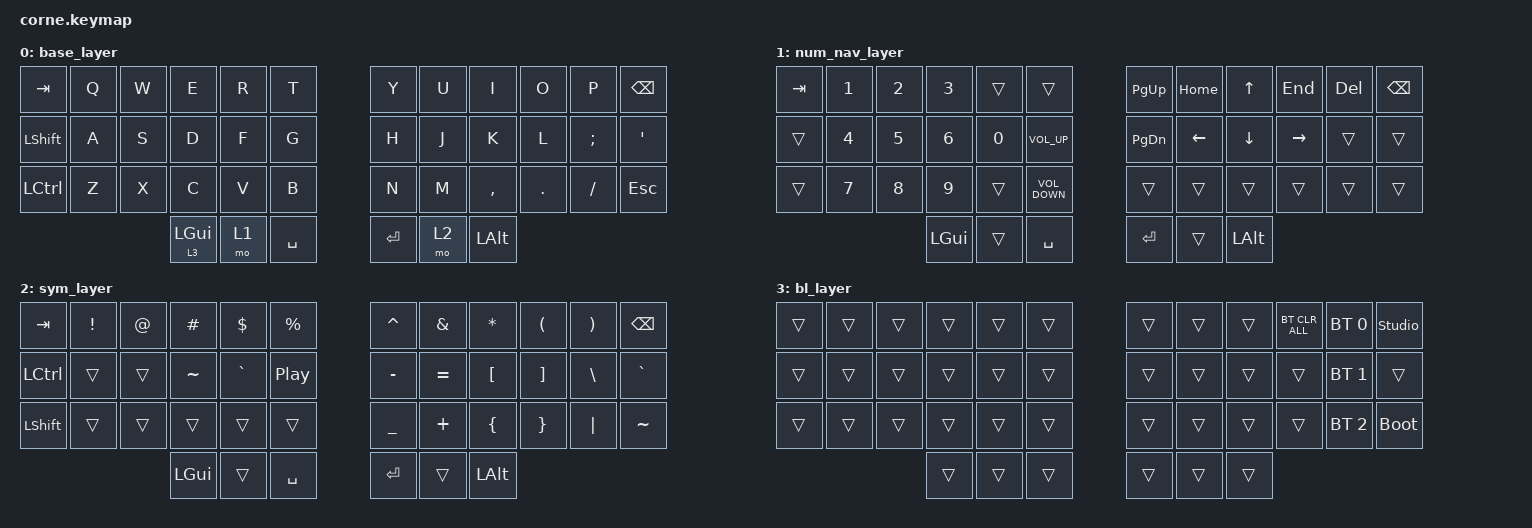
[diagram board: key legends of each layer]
/*
 * Copyright (c) 2020 The ZMK Contributors
 *
 * SPDX-License-Identifier: MIT
 */

#include <behaviors.dtsi>
#include <dt-bindings/zmk/bt.h>
#include <dt-bindings/zmk/keys.h>

/ {
    keymap {
        compatible = "zmk,keymap";

        base_layer {
            // -----------------------------------------------------------------------------------------
            // |  TAB |  Q  |  W  |  E  |  R  |  T  |   |  Y  |  U   |  I  |  O  |  P  | BSPC |
            // | CTRL |  A  |  S  |  D  |  F  |  G  |   |  H  |  J   |  K  |  L  |  ;  |  '   |
            // | SHFT |  Z  |  X  |  C  |  V  |  B  |   |  N  |  M   |  ,  |  .  |  /  | ESC  |
            //                    | GUI | LWR | SPC |   | ENT | RSE  | ALT |

            bindings = <
&kp TAB         &kp Q  &kp W  &kp E       &kp R  &kp T        &kp Y    &kp U  &kp I         &kp O    &kp P     &kp BSPC
&kp LEFT_SHIFT  &kp A  &kp S  &kp D       &kp F  &kp G        &kp H    &kp J  &kp K         &kp L    &kp SEMI  &kp SQT
&kp LCTRL       &kp Z  &kp X  &kp C       &kp V  &kp B        &kp N    &kp M  &kp COMMA     &kp DOT  &kp FSLH  &kp ESC
                              &lt 3 LGUI  &mo 1  &kp SPACE    &kp RET  &mo 2  &kp LEFT_ALT
            >;
        };

        num_nav_layer {
            // -----------------------------------------------------------------------------------------
            // |  TAB |  1  |  2  |  3  |  4  |  5  |   |  6  |  7  |  8  |  9  |  0  | BSPC |
            // | BTCLR| BT1 | BT2 | BT3 | BT4 | BT5 |   | LFT | DWN |  UP | RGT |     |      |
            // | SHFT |     |     |     |     |     |   |     |     |     |     |     |      |
            //                    | GUI |     | SPC |   | ENT |     | ALT |

            bindings = <
&kp TAB  &kp N1        &kp N2  &kp N3        &trans  &trans               &kp PAGE_UP    &kp HOME  &kp UP_ARROW    &kp END    &kp DEL  &kp BSPC
&trans   &kp NUMBER_4  &kp N5  &kp NUMBER_6  &kp N0  &kp C_VOLUME_UP      &kp PAGE_DOWN  &kp LEFT  &kp DOWN_ARROW  &kp RIGHT  &trans   &trans
&trans   &kp N7        &kp N8  &kp N9        &trans  &kp C_VOLUME_DOWN    &trans         &trans    &trans          &trans     &trans   &trans
                               &kp LGUI      &trans  &kp SPACE            &kp RET        &trans    &kp LEFT_ALT
            >;
        };

        sym_layer {
            // -----------------------------------------------------------------------------------------
            // |  TAB |  !  |  @  |  #  |  $  |  %  |   |  ^  |  &  |  *  |  (  |  )  | BSPC |
            // | CTRL |     |     |     |     |     |   |  -  |  =  |  [  |  ]  |  \  |  `   |
            // | SHFT |     |     |     |     |     |   |  _  |  +  |  {  |  }  | "|" |  ~   |
            //                    | GUI |     | SPC |   | ENT |     | ALT |

            bindings = <
&kp TAB    &kp EXCL  &kp AT  &kp HASH   &kp DLLR   &kp PRCNT           &kp CARET  &kp AMPS   &kp ASTRK     &kp LPAR  &kp RPAR  &kp BSPC
&kp LCTRL  &trans    &trans  &kp TILDE  &kp GRAVE  &kp C_PLAY_PAUSE    &kp MINUS  &kp EQUAL  &kp LBKT      &kp RBKT  &kp BSLH  &kp GRAVE
&kp LSHFT  &trans    &trans  &trans     &trans     &trans              &kp UNDER  &kp PLUS   &kp LBRC      &kp RBRC  &kp PIPE  &kp TILDE
                             &kp LGUI   &trans     &kp SPACE           &kp RET    &trans     &kp LEFT_ALT
            >;
        };

        bl_layer {
            bindings = <
&trans  &trans  &trans  &trans  &trans  &trans    &trans  &trans  &trans  &bt BT_CLR_ALL  &bt BT_SEL 0  &studio_unlock
&trans  &trans  &trans  &trans  &trans  &trans    &trans  &trans  &trans  &trans          &bt BT_SEL 1  &trans
&trans  &trans  &trans  &trans  &trans  &trans    &trans  &trans  &trans  &trans          &bt BT_SEL 2  &bootloader
                        &trans  &trans  &trans    &trans  &trans  &trans
            >;
        };
    };
};
